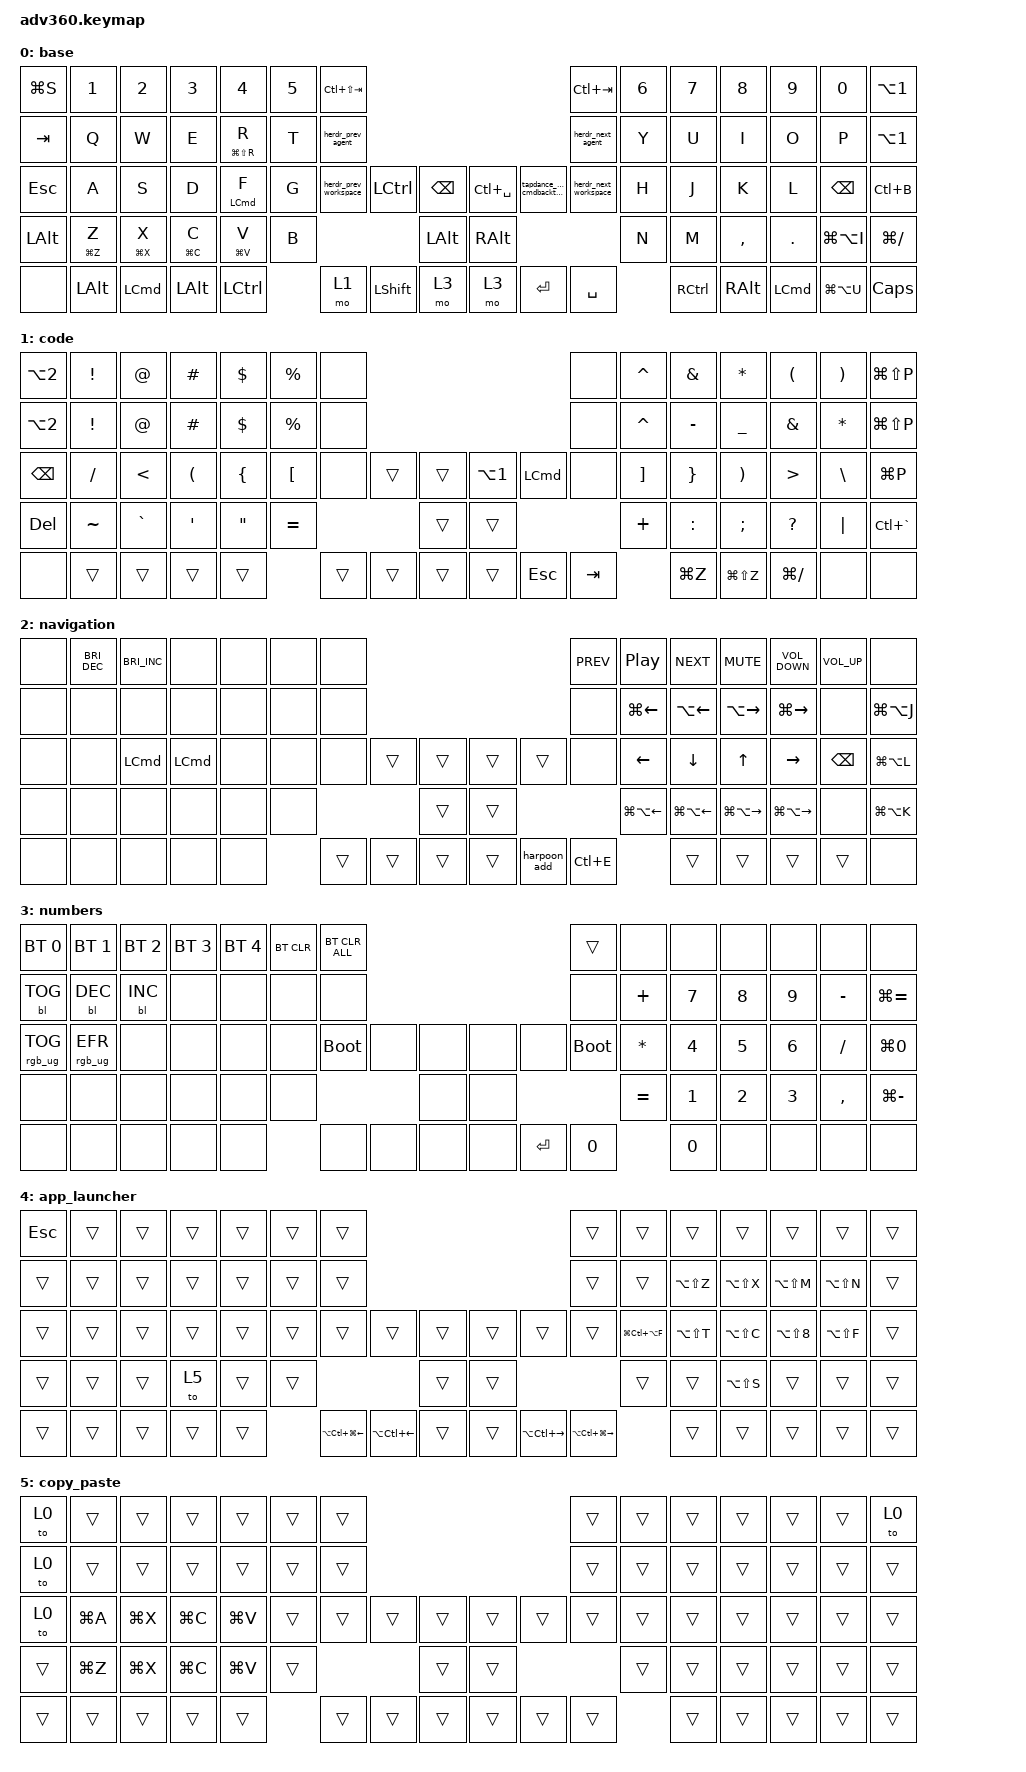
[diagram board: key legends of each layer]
/*
 * Copyright (c) 2020 The ZMK Contributors
 *
 * SPDX-License-Identifier: MIT
 */
/* THIS FILE WAS GENERATED!
 *
 * This file was generated automatically. You may or may not want to
 * edit it directly.
 */

#include <behaviors.dtsi>
#include <dt-bindings/zmk/backlight.h>
#include <dt-bindings/zmk/bt.h>
#include <dt-bindings/zmk/keys.h>
#include <dt-bindings/zmk/rgb.h>

/ {
    behaviors {
        #include "macros.dtsi"
    #include "version.dtsi"

        homerow_mods: homerow_mods {
            compatible = "zmk,behavior-hold-tap";
            label = "HOMEROW_MODS";
            bindings = <&kp>, <&kp>;

            #binding-cells = <2>;
            tapping-term-ms = <200>;
            flavor = "tap-preferred";
        };

        tapdance_cmd_cmdbacktick: tapdance_cmd_cmdbacktick {
            compatible = "zmk,behavior-tap-dance";
            label = "TAPDANCE_CMD_CMDBACKTICK";
            #binding-cells = <0>;
            bindings = <&kp LCMD>, <&kp LG(GRAVE)>;
        };

        homerow_mods_applauncher: homerow_mods_applauncher {
            compatible = "zmk,behavior-hold-tap";
            label = "HOMEROW_MODS_APPLAUNCHER";
            bindings = <&mo>, <&kp>;

            #binding-cells = <2>;
            hold-trigger-key-positions = <69 70 71 72 41 23 55 56 42 24 25 43 44 65>;
            tapping-term-ms = <140>;
            flavor = "tap-preferred";
        };

        tapdance_cut: tapdance_cut {
            compatible = "zmk,behavior-tap-dance";
            label = "TAPDANCE_CUT";
            #binding-cells = <0>;
            bindings = <&kp GRAVE>, <&kp LG(X)>;
        };

        tapdance_copy: tapdance_copy {
            compatible = "zmk,behavior-tap-dance";
            label = "TAPDANCE_COPY";
            #binding-cells = <0>;
            bindings = <&kp SINGLE_QUOTE>, <&kp LG(C)>;
        };

        tapdance_paste: tapdance_paste {
            compatible = "zmk,behavior-tap-dance";
            label = "TAPDANCE_PASTE";
            #binding-cells = <0>;
            bindings = <&kp DOUBLE_QUOTES>, <&kp LG(V)>;
        };

        tapdance_undo: tapdance_undo {
            compatible = "zmk,behavior-tap-dance";
            label = "TAPDANCE_UNDO";
            #binding-cells = <0>;
            bindings = <&kp TILDE>, <&kp LG(Z)>;
        };

        esc_layer1: esc_layer1 {
            compatible = "zmk,behavior-hold-tap";
            label = "ESC_LAYER1";
            bindings = <&mo>, <&kp>;

            #binding-cells = <2>;
            tapping-term-ms = <200>;
            flavor = "tap-preferred";
        };

        tapdance_shift: tapdance_shift {
            compatible = "zmk,behavior-tap-dance";
            label = "TAPDANCE_SHIFT";
            #binding-cells = <0>;
            bindings = <&kp LEFT_SHIFT>, <&kp LG(LEFT_SHIFT)>;
        };
    };

    macros {
        harpoon1: harpoon1 {
            compatible = "zmk,behavior-macro";
            #binding-cells = <0>;
            bindings = <&kp SPACE &kp NUMBER_1>;
            label = "HARPOON1";
            wait-ms = <5>;
        };

        harpoon2: harpoon2 {
            compatible = "zmk,behavior-macro";
            #binding-cells = <0>;
            bindings = <&kp SPACE &kp NUMBER_2>;
            label = "HARPOON2";
            wait-ms = <5>;
        };

        harpoon3: harpoon3 {
            compatible = "zmk,behavior-macro";
            #binding-cells = <0>;
            bindings = <&kp SPACE &kp NUMBER_3>;
            label = "HARPOON3";
            wait-ms = <5>;
        };

        harpoon4: harpoon4 {
            compatible = "zmk,behavior-macro";
            #binding-cells = <0>;
            bindings = <&kp SPACE &kp NUMBER_4>;
            label = "HARPOON4";
            wait-ms = <5>;
        };

        herdr_next_workspace: tmux_next_session {
            compatible = "zmk,behavior-macro";
            #binding-cells = <0>;
            bindings = <&kp LC(B) &kp RIGHT_BRACE>;
            label = "TMUX_NEXT_SESSION";
            wait-ms = <5>;
        };

        herdr_prev_workspace: tmux_prev_session {
            compatible = "zmk,behavior-macro";
            #binding-cells = <0>;
            bindings = <&kp LC(B) &kp LEFT_BRACE>;
            label = "TMUX_PREV_SESSION";
            wait-ms = <5>;
        };

        herdr_next_agent: tmux_next_window {
            compatible = "zmk,behavior-macro";
            #binding-cells = <0>;
            bindings = <&kp LC(B) &kp RIGHT_PARENTHESIS>;
            label = "TMUX_NEXT_WINDOW";
            wait-ms = <5>;
        };

        herdr_prev_agent: tmux_prev_window {
            compatible = "zmk,behavior-macro";
            #binding-cells = <0>;
            bindings = <&kp LC(B) &kp LEFT_PARENTHESIS>;
            label = "TMUX_PREV_WINDOW";
            wait-ms = <5>;
        };

        temp_search_svg: temp_search_svg {
            compatible = "zmk,behavior-macro";
            #binding-cells = <0>;
            bindings = <&kp LG(F) &kp S &kp V &kp G &kp RETURN>;
            label = "TEMP_SEARCH_SVG";
            wait-ms = <5>;
        };

        harpoon_add: harpoon_add {
            compatible = "zmk,behavior-macro";
            #binding-cells = <0>;
            bindings = <&kp SPACE &kp A>;
            label = "HARPOON_ADD";
            wait-ms = <5>;
        };
    };

    combos {
        compatible = "zmk,combos";

        mo_layer2 {
            bindings = <&mo 2>;
            key-positions = <31 32>;
            layers = <0>;
        };

        mo_layer3 {
            bindings = <&mo 3>;
            key-positions = <31 30>;
            layers = <0>;
        };

        mo_layer4_left {
            bindings = <&mo 4>;
            key-positions = <30 32>;
            layers = <0>;
        };

        mo_layer4_right {
            bindings = <&mo 4>;
            key-positions = <41 43>;
            layers = <0>;
        };
    };

    keymap {
        compatible = "zmk,keymap";

        base {
            bindings = <
&kp LG(S)     &kp N1                 &kp N2                 &kp N3                 &kp N4                     &kp N5  &kp LC(LS(TAB))                                                                                     &kp LC(TAB)            &kp N6  &kp N7     &kp N8         &kp N9      &kp N0         &kp LA(NUMBER_1)
&kp TAB       &kp Q                  &kp W                  &kp E                  &homerow_mods LG(LS(R)) R  &kp T   &herdr_prev_agent                                                                                   &herdr_next_agent      &kp Y   &kp U      &kp I          &kp O       &kp P          &kp LA(NUMBER_1)
&kp ESC       &kp A                  &kp S                  &kp D                  &homerow_mods LCMD F       &kp G   &herdr_prev_workspace  &kp LCTRL       &kp BACKSPACE      &kp LC(SPACE)  &tapdance_cmd_cmdbacktick  &herdr_next_workspace  &kp H   &kp J      &kp K          &kp L       &kp BACKSPACE  &kp LC(B)
&kp LEFT_ALT  &homerow_mods LG(Z) Z  &homerow_mods LG(X) X  &homerow_mods LG(C) C  &homerow_mods LG(V) V      &kp B                                          &kp LEFT_ALT       &kp RIGHT_ALT                                                    &kp N   &kp M      &kp COMMA      &kp PERIOD  &kp LG(LA(I))  &kp LG(SLASH)
&none         &kp LEFT_ALT           &kp LCMD               &kp LEFT_ALT           &kp LCTRL                          &mo 1                  &kp LEFT_SHIFT  &mo 3              &mo 3          &kp ENTER                  &kp SPACE                      &kp RCTRL  &kp RIGHT_ALT  &kp LCMD    &kp LG(LA(U))  &kp CAPSLOCK
            >;
        };

        code {
            bindings = <
&kp LA(NUMBER_2)  &kp EXCLAMATION  &kp AT_SIGN    &kp HASH              &kp DOLLAR         &kp PERCENT       &none                                                     &none    &kp CARET          &kp AMPERSAND    &kp ASTERISK           &kp LEFT_PARENTHESIS  &kp RIGHT_PARENTHESIS  &kp LG(LS(P))
&kp LA(NUMBER_2)  &kp EXCLAMATION  &kp AT_SIGN    &kp HASH              &kp DOLLAR         &kp PERCENT       &none                                                     &none    &kp CARET          &kp MINUS        &kp UNDERSCORE         &kp AMPERSAND         &kp ASTERISK           &kp LG(LS(P))
&kp BACKSPACE     &kp SLASH        &kp LESS_THAN  &kp LEFT_PARENTHESIS  &kp LEFT_BRACE     &kp LEFT_BRACKET  &none   &trans  &trans      &kp LA(NUMBER_1)  &kp LCMD    &none    &kp RIGHT_BRACKET  &kp RIGHT_BRACE  &kp RIGHT_PARENTHESIS  &kp GREATER_THAN      &kp BACKSLASH          &kp LG(P)
&kp DELETE        &kp TILDE        &kp GRAVE      &kp SQT               &kp DOUBLE_QUOTES  &kp EQUAL                         &trans      &trans                                 &kp PLUS           &kp COLON        &kp SEMICOLON          &kp QUESTION          &kp PIPE               &kp LC(GRAVE)
&none             &trans           &trans         &trans                &trans                               &trans  &trans  &trans      &trans            &kp ESCAPE  &kp TAB                     &kp LG(Z)        &kp LG(LS(Z))          &kp LG(SLASH)         &none                  &none
            >;
        };

        navigation {
            bindings = <
&none  &kp C_BRIGHTNESS_DEC  &kp C_BRIGHTNESS_INC  &none     &none  &none  &none                                             &kp C_PREV  &kp C_PLAY_PAUSE    &kp C_NEXT          &kp C_MUTE           &kp C_VOLUME_DOWN    &kp C_VOLUME_UP  &none
&none  &none                 &none                 &none     &none  &none  &none                                             &none       &kp LG(LEFT_ARROW)  &kp LA(LEFT_ARROW)  &kp LA(RIGHT_ARROW)  &kp LG(RIGHT_ARROW)  &none            &kp LG(LA(J))
&none  &none                 &kp LCMD              &kp LCMD  &none  &none  &none   &trans  &trans      &trans  &trans        &none       &kp LEFT_ARROW      &kp DOWN_ARROW      &kp UP_ARROW         &kp RIGHT_ARROW      &kp BACKSPACE    &kp LG(LA(L))
&none  &none                 &none                 &none     &none  &none                  &trans      &trans                            &kp LG(LA(LEFT))    &kp LG(LA(LEFT))    &kp LG(LA(RIGHT))    &kp LG(LA(RIGHT))    &none            &kp LG(LA(K))
&none  &none                 &none                 &none     &none         &trans  &trans  &trans      &trans  &harpoon_add  &kp LC(E)                       &trans              &trans               &trans               &trans           &none
            >;
        };

        numbers {
            bindings = <
&bt BT_SEL 0     &bt BT_SEL 1     &bt BT_SEL 2  &bt BT_SEL 3  &bt BT_SEL 4  &bt BT_CLR  &bt BT_CLR_ALL                                       &trans        &none         &none         &none         &none         &none      &none
&bl BL_TOG       &bl BL_DEC       &bl BL_INC    &none         &none         &none       &none                                                &none         &kp PLUS      &kp NUMBER_7  &kp NUMBER_8  &kp NUMBER_9  &kp MINUS  &kp LG(EQUAL)
&rgb_ug RGB_TOG  &rgb_ug RGB_EFR  &none         &none         &none         &none       &bootloader     &none  &none      &none  &none       &bootloader   &kp ASTERISK  &kp NUMBER_4  &kp NUMBER_5  &kp NUMBER_6  &kp SLASH  &kp LG(N0)
&none            &none            &none         &none         &none         &none                              &none      &none                            &kp EQUAL     &kp NUMBER_1  &kp NUMBER_2  &kp NUMBER_3  &kp COMMA  &kp LG(MINUS)
&none            &none            &none         &none         &none                     &none           &none  &none      &none  &kp RETURN  &kp NUMBER_0                &kp NUMBER_0  &none         &none         &none      &none
            >;
        };

        app_launcher {
            bindings = <
&kp ESCAPE  &trans  &trans  &trans  &trans  &trans  &trans                                                                                           &trans                       &trans             &trans         &trans         &trans          &trans         &trans
&trans      &trans  &trans  &trans  &trans  &trans  &trans                                                                                           &trans                       &trans             &kp LA(LS(Z))  &kp LA(LS(X))  &kp LA(LS(M))   &kp LA(LS(N))  &trans
&trans      &trans  &trans  &trans  &trans  &trans  &trans                      &trans                  &trans      &trans  &trans                   &trans                       &kp LG(LC(LA(F)))  &kp LA(LS(T))  &kp LA(LS(C))  &kp LA(LS(N8))  &kp LA(LS(F))  &trans
&trans      &trans  &trans  &to 5   &trans  &trans                                                      &trans      &trans                                                        &trans             &trans         &kp LA(LS(S))  &trans          &trans         &trans
&trans      &trans  &trans  &trans  &trans          &kp LA(LC(LG(LEFT_ARROW)))  &kp LA(LC(LEFT_ARROW))  &trans      &trans  &kp LA(LC(RIGHT_ARROW))  &kp LA(LC(LG(RIGHT_ARROW)))                     &trans         &trans         &trans          &trans         &trans
            >;
        };

        copy_paste {
            bindings = <
&to 0   &trans     &trans     &trans     &trans     &trans  &trans                                      &trans  &trans  &trans  &trans  &trans  &trans  &to 0
&to 0   &trans     &trans     &trans     &trans     &trans  &trans                                      &trans  &trans  &trans  &trans  &trans  &trans  &trans
&to 0   &kp LG(A)  &kp LG(X)  &kp LG(C)  &kp LG(V)  &trans  &trans  &trans  &trans      &trans  &trans  &trans  &trans  &trans  &trans  &trans  &trans  &trans
&trans  &kp LG(Z)  &kp LG(X)  &kp LG(C)  &kp LG(V)  &trans                  &trans      &trans                  &trans  &trans  &trans  &trans  &trans  &trans
&trans  &trans     &trans     &trans     &trans             &trans  &trans  &trans      &trans  &trans  &trans          &trans  &trans  &trans  &trans  &trans
            >;
        };
    };
};
